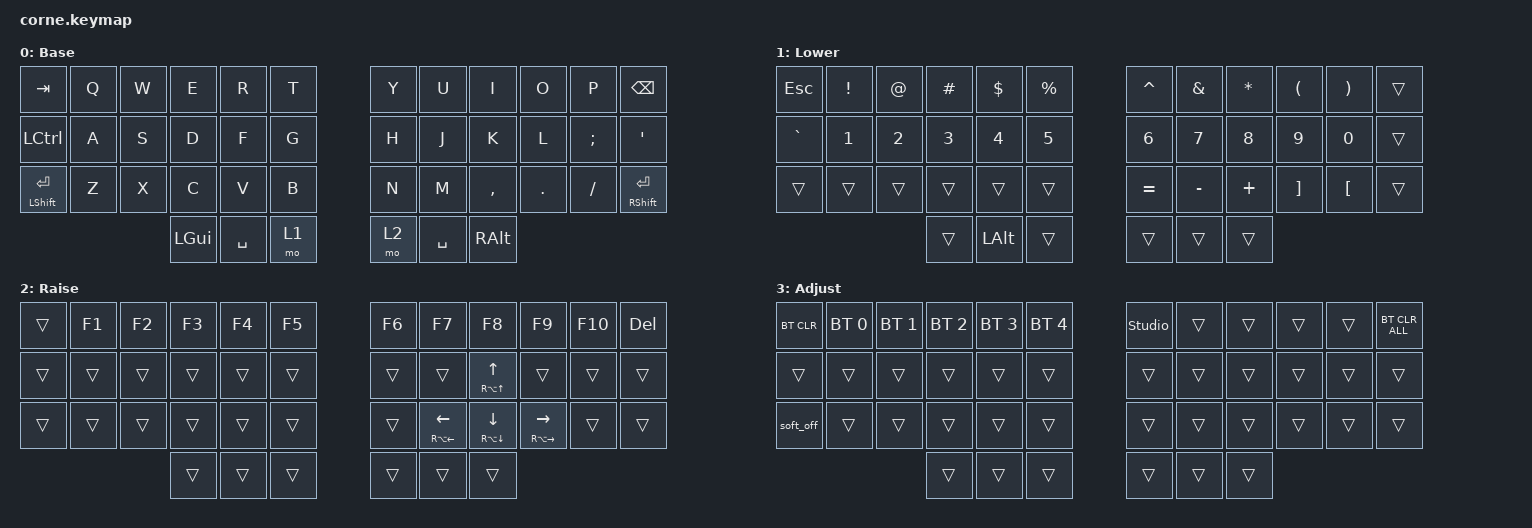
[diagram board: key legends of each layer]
/*
 * Copyright (c) 2020 The ZMK Contributors
 *
 * SPDX-License-Identifier: MIT
 */

#include <behaviors.dtsi>
#include <dt-bindings/zmk/keys.h>
#include <dt-bindings/zmk/bt.h>

#define BASE 0
#define LOWER 1
#define RAISE 2
#define ADJUST 3


/ {
         // Activate ADJUST layer by pressing raise and lower
        conditional_layers {
                compatible = "zmk,conditional-layers";
                adjust_layer {
                if-layers = <LOWER RAISE>;
                then-layer = <ADJUST>;
                };
        };
        keymap {
                compatible = "zmk,keymap";

                default_layer {
// -----------------------------------------------------------------------------------------
// |  TAB |  Q  |  W  |  E  |  R  |  T  |   |  Y  |  U   |  I  |  O  |  P  | BKSP |
// | CTRL |  A  |  S  |  D  |  F  |  G  |   |  H  |  J   |  K  |  L  |  ;  |  '   |
// | SHFT |  Z  |  X  |  C  |  V  |  B  |   |  N  |  M   |  ,  |  .  |  /  | ESC  |
//                    | GUI | LWR | SPC |   | ENT | RSE  | ALT |
                        display-name = "Base";
                        bindings = <
   &kp TAB   &kp Q &kp W &kp E &kp R &kp T   &kp Y &kp U  &kp I     &kp O   &kp P    &kp BSPC
   &kp LCTRL &kp A &kp S &kp D &kp F &kp G   &kp H &kp J  &kp K     &kp L   &kp SEMI &kp SQT
   &mt LSHIFT RET  &kp Z &kp X &kp C &kp V &kp B   &kp N &kp M  &kp COMMA &kp DOT &kp FSLH &mt RSHIFT RET
                  &kp LGUI &kp SPACE &mo 1   &mo 2 &kp SPACE &kp RALT
                        >;
                };
                lower_layer {
// -----------------------------------------------------------------------------------------
// |  ESC |  1  |  2  |  3  |  4  |  5  |   |  6  |  7  |  8  |  9  |  0  | BKSP |
// | BTCLR| BT1 | BT2 | BT3 | BT4 | BT5 |   | LFT | DWN |  UP | RGT |     |      |
// | SHFT |     |     |     |     |     |   |     |     |     |     |     |      |
//                    | GUI |     | SPC |   | ENT |     | ALT |
                        display-name = "Lower";
                        bindings = <
   &kp ESC    &kp EXCL     &kp AT       &kp HASH     &kp DLLR     &kp PRCNT      &kp CARET &kp AMPS &kp STAR &kp LPAR  &kp RPAR &trans
   &kp GRAVE &kp N1 &kp N2 &kp N3 &kp N4 &kp N5   &kp N6 &kp N7 &kp N8 &kp N9 &kp N0 &trans
   &trans  &trans       &trans       &trans       &trans       &trans         &kp EQUAL   &kp MINUS   &kp PLUS &kp RBKT  &kp LBKT &trans
                          	        &trans     &kp LALT       &trans      &trans  &trans   &trans
                        >;
                };

                raise_layer {
// -----------------------------------------------------------------------------------------
// |  TAB |  !  |  @  |  #  |  $  |  %  |   |  ^  |  &  |  *  |  (  |  )  | BKSP |
// | CTRL |     |     |     |     |     |   |  -  |  =  |  [  |  ]  |  \  |  `   |
// | SHFT |     |     |     |     |     |   |  _  |  +  |  {  |  }  | "|" |  ~   |
//                    | GUI |     | SPC |   | ENT |     | ALT |
                        display-name = "Raise";
                        bindings = <
   &trans  &kp F1 &kp F2 &kp F3 &kp F4 &kp F5   &kp F6 &kp F7  &kp F8 &kp F9 &kp F10 &kp DEL
   &trans &trans   &trans &trans   &trans   &trans      &trans &trans &mt RA(UP) UP  &trans &trans &trans
   &trans &trans   &trans &trans   &trans   &trans      &trans &mt RA(LEFT) LEFT &mt RA(DOWN) DOWN &mt RA(RIGHT) RIGHT &trans &trans
                    	     &trans &trans   &trans   &trans   &trans    &trans
                        >;
                };

                adjust_layer {
// -----------------------------------------------------------------------------------------
// |  TAB |  1  |  2  |  3  |  4  |  5  |   |  6  |  7  |  8  |  9  |  0  | BKSP |
// | BTCLR| BT1 | BT2 | BT3 | BT4 | BT5 |   | LFT | DWN |  UP | RGT |     |      |
// | SHFT |     |     |     |     |     |   |     |     |     |     |     |      |
//                    | GUI |     | SPC |   | ENT |     | ALT |
                        display-name = "Adjust";
                        bindings = <
   &bt BT_CLR &bt BT_SEL 0 &bt BT_SEL 1 &bt BT_SEL 2 &bt BT_SEL 3 &bt BT_SEL 4   &studio_unlock   &trans   &trans &trans    &trans &bt BT_CLR_ALL
   &trans &trans &trans &trans &trans &trans   &trans &trans &trans &trans &trans &trans
   &soft_off  &trans       &trans       &trans       &trans       &trans         &trans   &trans   &trans &trans    &trans &trans
                          	        &trans     &trans       &trans      &trans  &trans   &trans
                        >;
                };

                extra_1 {
                        status = "reserved";
                };

                extra_2 {
                        status = "reserved";
                };

                extra_3 {
                        status = "reserved";
                };
        };
};
